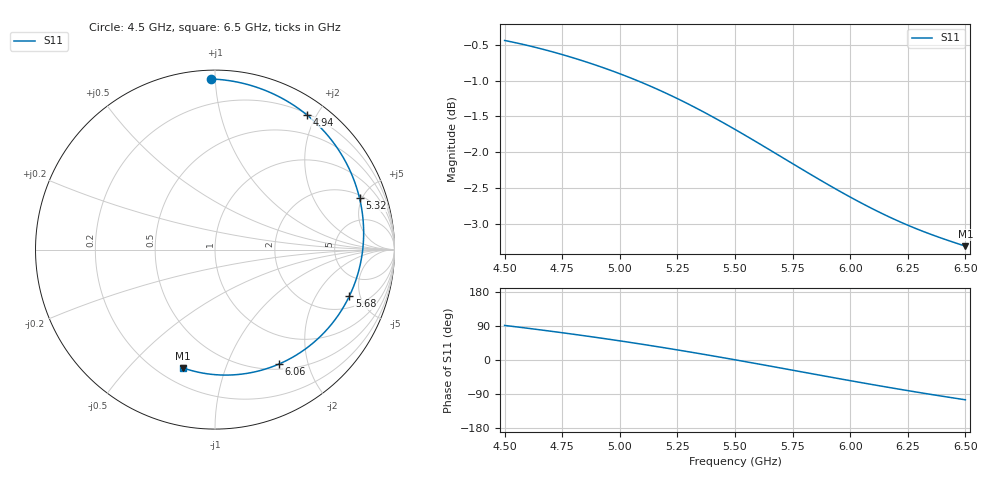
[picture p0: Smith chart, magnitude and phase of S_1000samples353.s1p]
! TOUCHSTONE file generated by CST MICROWAVE STUDIO
! Date and time: Thu Oct 27 21:13:34 2022
! Project name: L.cst
! Parameters = {Di=1.27; Epsilon_r=1.56; InnerDiameter=1.27; Length=2; Lf=10; Lg=60; OuterConductorThickness=0.2921; OuterDiameter=3.6; Wf=3; Wp=41.2; de=1.5; df=6.8; g=0.8; gx=2.35257; gy=3.46968; h=2.34; hf=1.524; px=10.0741; py=10.1262; w=9.7; wx=7.7215; wy=6.65653}
! Header version: 2018
! Port assignment regex: !\s*Touchstone port\s*([0-9]+)\s*=\s*(CST MWS port|CST DS port)\s*([0-9]+|Zmin|Zmax)\s*\(\"(.*)\"\)(\s*mode\s*([0-9]+))?.*
! Touchstone port assignment:
! Touchstone port 1 = CST MWS port 1 ("")
# GHz S DB R 50
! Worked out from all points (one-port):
!   101 points, 4.5 GHz to 6.5 GHz, reference 50 ohm
!   lowest |S11| = -3.3 dB at 6.5 GHz (marker M1), VSWR 5.31, Z = 14.7 - j36.2 ohm
!   |S11| at or under -10 dB: nowhere
!   S11 on the Smith chart (normalised r, x): 4.5 GHz: 0.05, +0.98; 4.94 GHz: 0.22, +1.87; 5.32 GHz: 2.26, +4.79; 5.68 GHz: 2.84, -3.97; 6.06 GHz: 0.57, -1.55; 6.5 GHz: 0.29, -0.72
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4.5  -0.44 91.2
4.58  -0.49 85.3
4.64  -0.54 80.7
4.7  -0.59 76.0
4.76  -0.65 71.1
4.86  -0.75 62.8
4.94  -0.83 55.9
5  -0.90 50.5
5.06  -0.98 45.0
5.14  -1.09 37.4
5.2  -1.18 31.6
5.26  -1.27 25.6
5.32  -1.36 19.5
5.42  -1.54 9.1
5.5  -1.68 0.5
5.58  -1.83 -8.1
5.68  -2.02 -19.2
5.76  -2.18 -28.0
5.82  -2.29 -34.7
5.88  -2.41 -41.3
5.94  -2.52 -48.0
6  -2.63 -54.5
6.06  -2.73 -61.0
6.16  -2.89 -71.6
6.26  -3.03 -81.8
6.32  -3.11 -87.8
6.38  -3.18 -93.7
6.5  -3.31 -105.0
